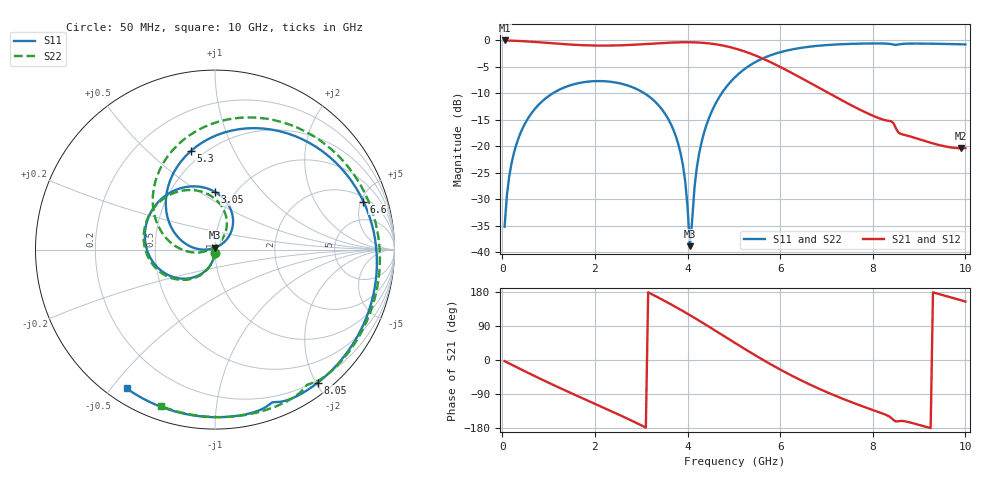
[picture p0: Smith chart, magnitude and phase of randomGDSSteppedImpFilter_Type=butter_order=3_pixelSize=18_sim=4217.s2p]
! freq	dB(S11)	phase(S11)	dB(S12)	phase(S12)
!  dB(S21)	phase(S21)	dB(S22)	phase(S22)
!S-par simulation data
#  GHz  S  DB  R 50
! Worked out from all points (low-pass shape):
!   200 points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, 50 MHz to 10 GHz, reference 50 ohm
!   highest |S21| = 0.00 dB at 50 MHz (marker M1); lowest = -20.3 dB at 9.9 GHz (marker M2)
!   |S21| within 3 dB of the highest: start of sweep to 5.511 GHz
!   lowest |S11| = -38.8 dB at 4.05 GHz (marker M3), VSWR 1.02, Z = 49.9 + j1.14 ohm
!   |S11| at or under -10 dB: start of sweep to 1.086 GHz; 3.073 GHz to 4.737 GHz (1.663 GHz wide, 42.6 % of centre)
!   |S22| runs from -36.5 to -0.5 dB; largest |S21 - S12| = 0
!   S11 on the Smith chart (normalised r, x): 50 MHz: 1.00, -0.03; 3.05 GHz: 0.81, +0.58; 5.3 GHz: 0.43, +0.69; 6.6 GHz: 2.41, +5.27; 8.05 GHz: 0.17, -2.03; 10 GHz: 0.06, -0.55
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0.05  -35.15 -93.0  -0.00 -3.1  -0.00 -3.1  -35.14 -92.9
0.2  -23.16 -102.8  -0.04 -12.4  -0.04 -12.4  -23.16 -102.3
0.5  -15.53 -121.9  -0.17 -30.6  -0.17 -30.6  -15.53 -120.4
1.1  -9.92 -157.8  -0.55 -65.7  -0.55 -65.7  -9.92 -154.6
1.75  -7.89 165.0  -0.90 -101.8  -0.90 -101.8  -7.89 170.2
3.05  -9.87 89.8  -0.71 -175.3  -0.71 -175.3  -9.87 100.0
3.4  -12.50 67.9  -0.52 162.8  -0.52 162.8  -12.50 79.8
3.85  -21.28 40.9  -0.35 132.6  -0.35 132.6  -21.23 56.3
3.95  -26.58 39.2  -0.34 125.6  -0.34 125.6  -26.39 57.0
4.05  -38.81 92.4  -0.34 118.5  -0.34 118.5  -36.45 108.8
4.2  -24.03 -179.6  -0.38 107.5  -0.38 107.5  -23.97 -169.2
4.35  -17.60 173.6  -0.46 96.4  -0.46 96.4  -17.60 -173.5
5.05  -6.73 122.7  -1.57 43.1  -1.57 43.1  -6.74 138.7
5.3  -4.97 104.0  -2.29 24.3  -2.29 24.3  -4.98 120.5
5.95  -2.35 58.0  -4.77 -21.8  -4.77 -21.8  -2.36 75.2
6.6  -1.22 17.9  -7.79 -62.3  -7.79 -62.3  -1.23 34.7
6.7  -1.11 12.3  -8.27 -68.1  -8.27 -68.1  -1.12 28.9
7.35  -0.70 -21.2  -11.38 -102.2  -11.38 -102.2  -0.70 -5.6
8.05  -0.57 -52.3  -14.38 -134.1  -14.38 -134.1  -0.55 -37.9
8.35  -0.63 -64.8  -15.17 -148.7  -15.17 -148.7  -0.61 -50.9
9.9  -0.73 -119.0  -20.35 157.9  -20.35 157.9  -0.68 -105.6
10  -0.75 -122.5  -20.32 154.3  -20.32 154.3  -0.71 -109.0
